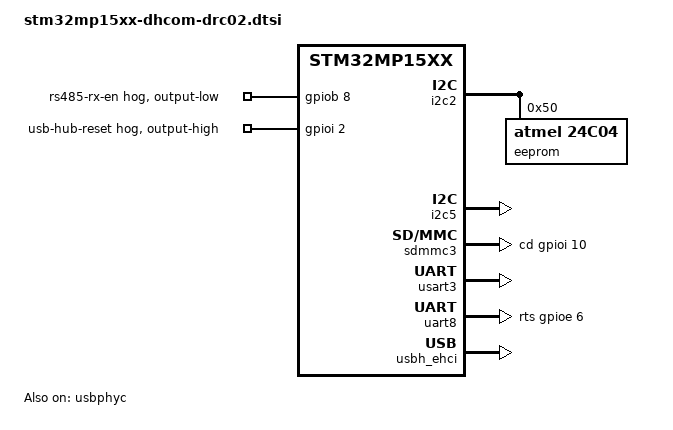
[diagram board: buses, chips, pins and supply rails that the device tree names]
// SPDX-License-Identifier: GPL-2.0+ OR BSD-3-Clause
/*
 * Copyright (C) 2020 Marek Vasut <marex@denx.de>
 */

#include <dt-bindings/input/input.h>
#include <dt-bindings/pwm/pwm.h>

/ {
	aliases {
		serial0 = &uart4;
		serial1 = &usart3;
		serial2 = &uart8;
	};

	chosen {
		stdout-path = "serial0:115200n8";
	};
};

&adc {
	status = "disabled";
};

&dac {
	status = "disabled";
};

&gpiob {
	/*
	 * NOTE: On DRC02, the RS485_RX_En is controlled by a separate
	 * GPIO line, however the STM32 UART driver assumes RX happens
	 * during TX anyway and that it only controls drive enable DE
	 * line. Hence, the RX is always enabled here.
	 */
	rs485-rx-en-hog {
		gpio-hog;
		gpios = <8 0>;
		output-low;
		line-name = "rs485-rx-en";
	};
};

&gpiod {
	gpio-line-names = "", "", "", "",
			  "", "", "DHCOM-B", "",
			  "", "", "", "DRC02-Out1",
			  "DRC02-Out2", "", "", "";
};

&gpioi {
	gpio-line-names = "DRC02-In1", "DHCOM-O", "DHCOM-H", "DHCOM-I",
			  "DHCOM-R", "DHCOM-M", "", "",
			  "DRC02-In2", "", "", "",
			  "", "", "", "";

	/*
	 * NOTE: The USB Hub on the DRC02 needs a reset signal to be
	 * pulled high in order to be detected by the USB Controller.
	 * This signal should be handled by USB power sequencing in
	 * order to reset the Hub when USB bus is powered down, but
	 * so far there is no such functionality.
	 */
	usb-hub-hog {
		gpio-hog;
		gpios = <2 0>;
		output-high;
		line-name = "usb-hub-reset";
	};
};

&i2c2 {
	pinctrl-names = "default";
	pinctrl-0 = <&i2c2_pins_a>;
	i2c-scl-rising-time-ns = <185>;
	i2c-scl-falling-time-ns = <20>;
	status = "okay";
	/* spare dmas for other usage */
	/delete-property/dmas;
	/delete-property/dma-names;
	status = "okay";

	eeprom@50 {
		compatible = "atmel,24c04";
		reg = <0x50>;
		pagesize = <16>;
	};
};

&i2c4 {
	touchscreen@49 {
		status = "disabled";
	};
};

&i2c5 {	/* TP7/TP8 */
	pinctrl-names = "default";
	pinctrl-0 = <&i2c5_pins_a>;
	i2c-scl-rising-time-ns = <185>;
	i2c-scl-falling-time-ns = <20>;
	status = "okay";
	/* spare dmas for other usage */
	/delete-property/dmas;
	/delete-property/dma-names;
};

&sdmmc3 {
	/*
	 * On DRC02, the SoM does not have SDIO WiFi. The pins
	 * are used for on-board microSD slot instead.
	 */
	/delete-property/broken-cd;
	cd-gpios = <&gpioi 10 GPIO_ACTIVE_HIGH>;
	disable-wp;
};

&spi1 {
	pinctrl-names = "default";
	pinctrl-0 = <&spi1_pins_a>;
	cs-gpios = <&gpioz 3 0>;
	/* Use PIO for the display */
	/delete-property/dmas;
	/delete-property/dma-names;
	status = "disabled";	/* Enable once there is display driver */
	/*
	 * Note: PF3/GPIO_A , PD6/GPIO_B , PG0/GPIO_C , PC6/GPIO_E are
	 * also connected to the display board connector.
	 */
};

&usart3 {
	pinctrl-names = "default";
	pinctrl-0 = <&usart3_pins_a>;
	/delete-property/dmas;
	/delete-property/dma-names;
	status = "okay";
};

/*
 * Note: PI3 is UART1_RTS and PI5 is UART1_CTS on DRC02 (uart4 of STM32MP1),
 *       however the STM32MP1 pinmux cannot map them to UART4 .
 */

&uart8 {	/* RS485 */
	linux,rs485-enabled-at-boot-time;
	pinctrl-names = "default";
	pinctrl-0 = <&uart8_pins_a>;
	rts-gpios = <&gpioe 6 GPIO_ACTIVE_HIGH>;
	/delete-property/dmas;
	/delete-property/dma-names;
	status = "okay";
};

&usbh_ehci {
	status = "okay";
};

&usbphyc {
	status = "okay";
};

&usbphyc_port0 {
	phy-supply = <&vdd_usb>;
};

&usbphyc_port1 {
	phy-supply = <&vdd_usb>;
};
